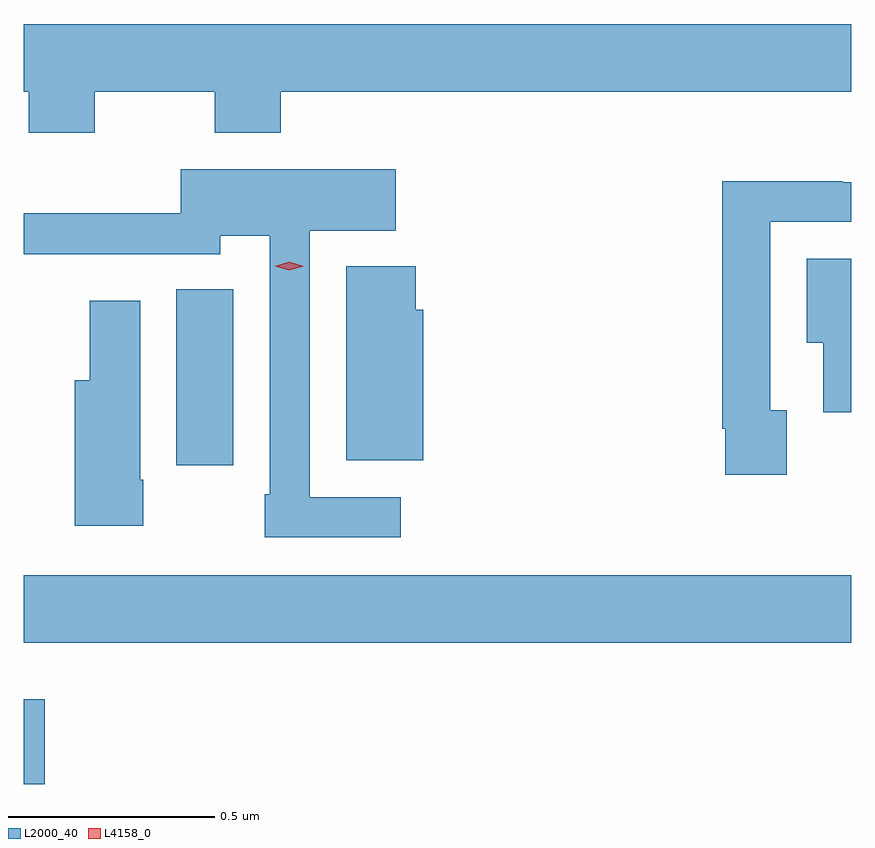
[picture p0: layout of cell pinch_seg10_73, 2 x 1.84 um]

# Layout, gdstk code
import gdstk
lib = gdstk.Library(unit=1e-6, precision=1e-09)
def R(c, l, rs):  # rectangles x0, y0, x1, y1
    for r in rs: c.add(gdstk.rectangle(r[:2], r[2:], *l))
def P(c, l, *ps):  # polygons
    for p in ps: c.add(gdstk.Polygon(p, *l))
L2000_40 = (2000, 40)
L4158_0 = (4158, 0)

pinch_seg10_73 = lib.new_cell('pinch_seg10_73')
R(pinch_seg10_73, L2000_40, [(822.323,1305.303,822.374,1305.508), (822.323,1305.644,824.323,1305.808), (822.692,1306.074,822.829,1306.499)])
P(pinch_seg10_73, L2000_40, [(822.495,1306.976),(822.784,1306.976),(822.784,1306.877),(822.944,1306.877),(822.944,1306.976),(824.323,1306.976),(824.323,1307.14),(822.323,1307.14),(822.323,1306.976),(822.335,1306.976),(822.335,1306.877),(822.495,1306.877)],
  [(823.234,1305.996),(823.014,1305.996),(823.014,1306.64),(823.222,1306.64),(823.222,1306.789),(822.702,1306.789),(822.702,1306.682),(822.323,1306.682),(822.323,1306.583),(822.386,1306.583),(822.386,1306.584),(822.798,1306.584),(822.798,1306.628),(822.918,1306.628),(822.918,1306.003),(822.906,1306.003),(822.906,1305.9),(823.234,1305.9)],
  [(824.167,1306.206),(824.127,1306.206),(824.127,1306.662),(824.323,1306.662),(824.323,1306.758),(824.303,1306.758),(824.303,1306.76),(824.011,1306.76),(824.011,1306.162),(824.019,1306.162),(824.019,1306.05),(824.167,1306.05)],
  [(824.323,1306.573),(824.216,1306.573),(824.216,1306.37),(824.255,1306.37),(824.255,1306.202),(824.323,1306.202)],
  [(823.288,1306.449),(823.27,1306.449),(823.27,1306.555),(823.103,1306.555),(823.103,1306.085),(823.288,1306.085)],
  [(822.612,1306.039),(822.604,1306.039),(822.604,1306.471),(822.482,1306.471),(822.482,1306.279),(822.446,1306.279),(822.446,1305.927),(822.612,1305.927)])
P(pinch_seg10_73, L4158_0, [(822.965,1306.545),(822.93,1306.555),(822.93,1306.555),(822.93,1306.555),(822.965,1306.565),(823,1306.555),(823,1306.555),(823,1306.555)])

lib.write_gds('pinch_seg10_73.gds')
